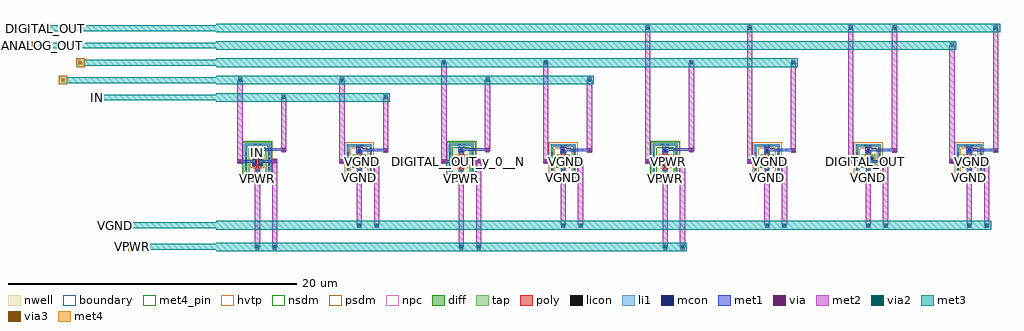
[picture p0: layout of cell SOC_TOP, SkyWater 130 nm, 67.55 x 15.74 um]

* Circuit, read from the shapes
.subckt SOC_TOP ANALOG_OUT DIGITAL_OUT DIGITAL__N_3 DIGITAL__OUT_y_0__N IN VGND VPWR
XM1 VGND IN DIGITAL__N_3 VGND sky130_fd_pr__nfet_01v8 w=0.65 l=0.15
XM2 VGND DIGITAL__N_3 DIGITAL__OUT_y_0__N VGND sky130_fd_pr__nfet_01v8 w=0.65 l=0.15
XM3 VGND DIGITAL__OUT_y_0__N DIGITAL_OUT VGND sky130_fd_pr__nfet_01v8 w=0.65 l=0.15
XM4 VGND DIGITAL_OUT DIGITAL_OUT VGND sky130_fd_pr__nfet_01v8 w=0.65 l=0.15
XM5 VGND DIGITAL_OUT ANALOG_OUT VGND sky130_fd_pr__nfet_01v8 w=0.65 l=0.15
XM6 VPWR IN DIGITAL__N_3 VPWR sky130_fd_pr__pfet_01v8_hvt w=0.65 l=0.15
XM7 VPWR DIGITAL__N_3 DIGITAL__OUT_y_0__N VPWR sky130_fd_pr__pfet_01v8_hvt w=0.65 l=0.15
XM8 VPWR DIGITAL__OUT_y_0__N DIGITAL_OUT VPWR sky130_fd_pr__pfet_01v8_hvt w=0.65 l=0.15
.ends

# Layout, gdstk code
import gdstk
lib = gdstk.Library(unit=1e-6, precision=1e-09)
def R(c, l, rs):  # rectangles x0, y0, x1, y1
    for r in rs: c.add(gdstk.rectangle(r[:2], r[2:], *l))
def A(c, l, x, y, w, h, nx, ny, dx, dy):  # array of equal rectangles
    R(c, l, [(x+i*dx, y+j*dy, x+i*dx+w, y+j*dy+h) for i in range(nx) for j in range(ny)])
nwell = (64, 20)
diff = (65, 20)
tap = (65, 44)
poly = (66, 20)
licon = (66, 44)
li1 = (67, 20)
mcon = (67, 44)
met1 = (68, 20)
via = (68, 44)
met2 = (69, 20)
via2 = (69, 44)
met3 = (70, 20)
via3 = (70, 44)
met4_pin = (71, 16)
met4 = (71, 20)
hvtp = (78, 44)
nsdm = (93, 44)
psdm = (94, 20)
npc = (95, 20)
boundary = (235, 4)

soc_top = lib.new_cell('SOC_TOP')
A(soc_top, nwell, 25.1, 14.8, 2.11, 2.84, 3, 1, 14.11, 0)
A(soc_top, diff, 25.79, 15.895, 0.73, 0.65, 6, 1, 7.055, 0)
R(soc_top, diff, [(68.065,15.895,68.795,16.545), (75.065,15.895,75.795,16.545)])
A(soc_top, tap, 25.28, 14.98, 1.75, 0.17, 3, 2, 14.11, 2.31)
A(soc_top, tap, 32.335, 15.025, 1.75, 0.17, 3, 2, 14.11, 2.22)
R(soc_top, tap, [(67.555,15.025,69.305,15.195), (74.555,15.025,76.305,15.195), (25.28,15.15,25.45,17.29), (26.86,15.15,27.03,17.29), (39.39,15.15,39.56,17.29), (40.97,15.15,41.14,17.29), (53.5,15.15,53.67,17.29), (55.08,15.15,55.25,17.29), (32.335,15.195,32.505,17.245), (33.915,15.195,34.085,17.245), (46.445,15.195,46.615,17.245), (48.025,15.195,48.195,17.245), (60.555,15.195,60.725,17.245), (62.135,15.195,62.305,17.245), (67.555,15.195,67.725,17.245), (69.135,15.195,69.305,17.245), (74.555,15.195,74.725,17.245), (76.135,15.195,76.305,17.245), (67.555,17.245,69.305,17.415), (74.555,17.245,76.305,17.415)])
A(soc_top, poly, 25.99, 15.41, 0.33, 0.33, 3, 2, 14.11, 1.29)
A(soc_top, poly, 33.045, 15.455, 0.33, 0.33, 3, 2, 14.11, 1.2)
A(soc_top, poly, 26.08, 15.74, 0.15, 0.96, 3, 1, 14.11, 0)
A(soc_top, poly, 33.135, 15.785, 0.15, 0.87, 3, 1, 14.11, 0)
R(soc_top, poly, [(68.265,15.455,68.595,15.785), (75.265,15.455,75.595,15.785), (68.355,15.785,68.505,16.655), (75.355,15.785,75.505,16.655), (68.265,16.655,68.595,16.985), (75.265,16.655,75.595,16.985)])
A(soc_top, licon, 26.07, 15.49, 0.17, 0.17, 3, 2, 14.11, 1.29)
A(soc_top, licon, 33.125, 15.535, 0.17, 0.17, 3, 2, 14.11, 1.2)
A(soc_top, licon, 25.28, 15.625, 0.17, 0.17, 1, 4, 0, 0.34)
A(soc_top, licon, 26.86, 15.625, 0.17, 0.17, 1, 4, 0, 0.34)
A(soc_top, licon, 32.335, 15.625, 0.17, 0.17, 1, 4, 0, 0.34)
A(soc_top, licon, 33.915, 15.625, 0.17, 0.17, 1, 4, 0, 0.34)
A(soc_top, licon, 39.39, 15.625, 0.17, 0.17, 1, 4, 0, 0.34)
A(soc_top, licon, 40.97, 15.625, 0.17, 0.17, 1, 4, 0, 0.34)
A(soc_top, licon, 46.445, 15.625, 0.17, 0.17, 1, 4, 0, 0.34)
A(soc_top, licon, 48.025, 15.625, 0.17, 0.17, 1, 4, 0, 0.34)
A(soc_top, licon, 53.5, 15.625, 0.17, 0.17, 1, 4, 0, 0.34)
A(soc_top, licon, 55.08, 15.625, 0.17, 0.17, 1, 4, 0, 0.34)
A(soc_top, licon, 60.555, 15.625, 0.17, 0.17, 1, 4, 0, 0.34)
A(soc_top, licon, 62.135, 15.625, 0.17, 0.17, 1, 4, 0, 0.34)
A(soc_top, licon, 67.555, 15.625, 0.17, 0.17, 1, 4, 0, 0.34)
A(soc_top, licon, 69.135, 15.625, 0.17, 0.17, 1, 4, 0, 0.34)
A(soc_top, licon, 74.555, 15.625, 0.17, 0.17, 1, 4, 0, 0.34)
A(soc_top, licon, 76.135, 15.625, 0.17, 0.17, 1, 4, 0, 0.34)
R(soc_top, licon, [(25.9,14.98,26.07,15.15), (26.24,14.98,26.41,15.15), (40.01,14.98,40.18,15.15), (40.35,14.98,40.52,15.15), (54.12,14.98,54.29,15.15), (54.46,14.98,54.63,15.15), (32.955,15.025,33.125,15.195), (33.295,15.025,33.465,15.195), (47.065,15.025,47.235,15.195), (47.405,15.025,47.575,15.195), (61.175,15.025,61.345,15.195), (61.515,15.025,61.685,15.195), (68.175,15.025,68.345,15.195), (68.515,15.025,68.685,15.195), (75.175,15.025,75.345,15.195), (75.515,15.025,75.685,15.195), (68.345,15.535,68.515,15.705), (75.345,15.535,75.515,15.705), (25.85,15.965,26.02,16.135), (26.29,15.965,26.46,16.135), (32.905,15.965,33.075,16.135), (33.345,15.965,33.515,16.135), (39.96,15.965,40.13,16.135), (40.4,15.965,40.57,16.135), (47.015,15.965,47.185,16.135), (47.455,15.965,47.625,16.135), (54.07,15.965,54.24,16.135), (54.51,15.965,54.68,16.135), (61.125,15.965,61.295,16.135), (61.565,15.965,61.735,16.135), (68.125,15.965,68.295,16.135), (68.565,15.965,68.735,16.135), (75.125,15.965,75.295,16.135), (75.565,15.965,75.735,16.135), (25.85,16.305,26.02,16.475), (26.29,16.305,26.46,16.475), (32.905,16.305,33.075,16.475), (33.345,16.305,33.515,16.475), (39.96,16.305,40.13,16.475), (40.4,16.305,40.57,16.475), (47.015,16.305,47.185,16.475), (47.455,16.305,47.625,16.475), (54.07,16.305,54.24,16.475), (54.51,16.305,54.68,16.475), (61.125,16.305,61.295,16.475), (61.565,16.305,61.735,16.475), (68.125,16.305,68.295,16.475), (68.565,16.305,68.735,16.475), (75.125,16.305,75.295,16.475), (75.565,16.305,75.735,16.475), (68.345,16.735,68.515,16.905), (75.345,16.735,75.515,16.905), (32.955,17.245,33.125,17.415), (33.295,17.245,33.465,17.415), (47.065,17.245,47.235,17.415), (47.405,17.245,47.575,17.415), (61.175,17.245,61.345,17.415), (61.515,17.245,61.685,17.415), (68.175,17.245,68.345,17.415), (68.515,17.245,68.685,17.415), (75.175,17.245,75.345,17.415), (75.515,17.245,75.685,17.415), (25.9,17.29,26.07,17.46), (26.24,17.29,26.41,17.46), (40.01,17.29,40.18,17.46), (40.35,17.29,40.52,17.46), (54.12,17.29,54.29,17.46), (54.46,17.29,54.63,17.46)])
A(soc_top, li1, 25.28, 14.98, 1.75, 0.17, 3, 2, 14.11, 2.31)
A(soc_top, li1, 32.335, 15.025, 1.75, 0.17, 3, 2, 14.11, 2.22)
A(soc_top, li1, 25.99, 15.49, 0.33, 0.17, 3, 2, 14.11, 1.29)
A(soc_top, li1, 33.045, 15.535, 0.33, 0.17, 3, 2, 14.11, 1.2)
A(soc_top, li1, 33.125, 16.735, 0.17, 0.34, 3, 1, 14.11, 0)
A(soc_top, li1, 26.07, 16.78, 0.17, 0.34, 3, 1, 14.11, 0)
R(soc_top, li1, [(67.555,15.025,69.305,15.195), (74.555,15.025,76.305,15.195), (25.28,15.15,25.45,17.29), (26.86,15.15,27.03,17.29), (39.39,15.15,39.56,17.29), (40.97,15.15,41.14,17.29), (53.5,15.15,53.67,17.29), (55.08,15.15,55.25,17.29), (32.335,15.195,32.505,17.245), (33.915,15.195,34.085,17.245), (46.445,15.195,46.615,17.245), (48.025,15.195,48.195,17.245), (60.555,15.195,60.725,17.245), (62.135,15.195,62.305,17.245), (67.555,15.195,67.725,17.245), (69.135,15.195,69.305,17.245), (74.555,15.195,74.725,17.245), (76.135,15.195,76.305,17.245), (68.265,15.535,68.595,15.705), (75.265,15.535,75.595,15.705), (25.85,15.875,26.02,16.565), (26.29,15.875,26.46,16.565), (32.905,15.875,33.075,16.565), (33.345,15.875,33.515,16.565), (39.96,15.875,40.13,16.565), (40.4,15.875,40.57,16.565), (47.015,15.875,47.185,16.565), (47.455,15.875,47.625,16.565), (54.07,15.875,54.24,16.565), (54.51,15.875,54.68,16.565), (61.125,15.875,61.295,16.565), (61.565,15.875,61.735,16.565), (68.125,15.875,68.295,16.565), (68.565,15.875,68.735,16.565), (75.125,15.875,75.295,16.565), (75.565,15.875,75.735,16.565), (68.265,16.735,68.595,16.905), (68.345,16.735,68.515,17.075), (75.265,16.735,75.595,16.905), (75.345,16.735,75.515,17.075), (67.555,17.245,69.305,17.415), (74.555,17.245,76.305,17.415)])
A(soc_top, mcon, 26.07, 14.98, 0.17, 0.17, 3, 2, 14.11, 1.97)
A(soc_top, mcon, 33.125, 15.025, 0.17, 0.17, 3, 2, 14.11, 1.88)
R(soc_top, mcon, [(68.345,15.025,68.515,15.195), (75.345,15.025,75.515,15.195), (25.85,15.955,26.02,16.125), (26.29,15.955,26.46,16.125), (32.905,15.955,33.075,16.125), (33.345,15.955,33.515,16.125), (39.96,15.955,40.13,16.125), (40.4,15.955,40.57,16.125), (47.015,15.955,47.185,16.125), (47.455,15.955,47.625,16.125), (54.07,15.955,54.24,16.125), (54.51,15.955,54.68,16.125), (61.125,15.955,61.295,16.125), (61.565,15.955,61.735,16.125), (68.125,15.955,68.295,16.125), (68.565,15.955,68.735,16.125), (75.125,15.955,75.295,16.125), (75.565,15.955,75.735,16.125), (25.85,16.315,26.02,16.485), (26.29,16.315,26.46,16.485), (32.905,16.315,33.075,16.485), (33.345,16.315,33.515,16.485), (39.96,16.315,40.13,16.485), (40.4,16.315,40.57,16.485), (47.015,16.315,47.185,16.485), (47.455,16.315,47.625,16.485), (54.07,16.315,54.24,16.485), (54.51,16.315,54.68,16.485), (61.125,16.315,61.295,16.485), (61.565,16.315,61.735,16.485), (68.125,16.315,68.295,16.485), (68.565,16.315,68.735,16.485), (75.125,16.315,75.295,16.485), (75.565,16.315,75.735,16.485), (68.345,16.905,68.515,17.075), (75.345,16.905,75.515,17.075)])
A(soc_top, met1, 25.955, 14.865, 0.4, 0.4, 3, 2, 14.11, 1.97)
A(soc_top, met1, 33.01, 14.91, 0.4, 0.4, 3, 2, 14.11, 1.88)
A(soc_top, met1, 25.975, 14.935, 0.36, 0.26, 3, 1, 14.11, 0)
A(soc_top, met1, 33.03, 14.98, 0.36, 0.26, 3, 1, 14.11, 0)
A(soc_top, met1, 34.85, 16.86, 0.36, 0.26, 3, 1, 14.11, 0)
A(soc_top, met1, 27.795, 16.905, 0.36, 0.26, 3, 1, 14.11, 0)
A(soc_top, met1, 33.21, 16.905, 1.82, 0.17, 3, 1, 14.11, 0)
A(soc_top, met1, 26.155, 16.95, 1.82, 0.17, 3, 1, 14.11, 0)
R(soc_top, met1, [(68.23,14.91,68.63,15.31), (75.23,14.91,75.63,15.31), (68.25,14.98,68.61,15.24), (75.25,14.98,75.61,15.24), (25.82,15.895,26.05,16.545), (26.26,15.895,26.49,16.545), (32.875,15.895,33.105,16.545), (33.315,15.895,33.545,16.545), (39.93,15.895,40.16,16.545), (40.37,15.895,40.6,16.545), (46.985,15.895,47.215,16.545), (47.425,15.895,47.655,16.545), (54.04,15.895,54.27,16.545), (54.48,15.895,54.71,16.545), (61.095,15.895,61.325,16.545), (61.535,15.895,61.765,16.545), (68.095,15.895,68.325,16.545), (68.535,15.895,68.765,16.545), (75.095,15.895,75.325,16.545), (75.535,15.895,75.765,16.545), (24.775,16.09,25.135,16.35), (27.175,16.09,27.535,16.35), (31.83,16.09,32.19,16.35), (34.23,16.09,34.59,16.35), (38.885,16.09,39.245,16.35), (41.285,16.09,41.645,16.35), (45.94,16.09,46.3,16.35), (48.34,16.09,48.7,16.35), (52.995,16.09,53.355,16.35), (55.395,16.09,55.755,16.35), (60.05,16.09,60.41,16.35), (62.45,16.09,62.81,16.35), (67.05,16.09,67.41,16.35), (69.45,16.09,69.81,16.35), (74.05,16.09,74.41,16.35), (76.45,16.09,76.81,16.35), (24.955,16.135,25.935,16.305), (26.375,16.135,27.355,16.305), (32.01,16.135,32.99,16.305), (33.43,16.135,34.41,16.305), (39.065,16.135,40.045,16.305), (40.485,16.135,41.465,16.305), (46.12,16.135,47.1,16.305), (47.54,16.135,48.52,16.305), (53.175,16.135,54.155,16.305), (54.595,16.135,55.575,16.305), (60.23,16.135,61.21,16.305), (61.65,16.135,62.63,16.305), (67.23,16.135,68.21,16.305), (68.65,16.135,69.63,16.305), (74.23,16.135,75.21,16.305), (75.65,16.135,76.63,16.305), (68.23,16.79,68.63,17.19), (75.23,16.79,75.63,17.19), (70.07,16.86,70.43,17.12), (77.07,16.86,77.43,17.12), (68.43,16.905,70.25,17.075), (75.43,16.905,77.25,17.075)])
A(soc_top, via, 26.08, 14.99, 0.15, 0.15, 3, 1, 14.11, 0)
A(soc_top, via, 33.135, 15.035, 0.15, 0.15, 3, 1, 14.11, 0)
A(soc_top, via, 34.955, 16.915, 0.15, 0.15, 3, 1, 14.11, 0)
A(soc_top, via, 27.9, 16.96, 0.15, 0.15, 3, 1, 14.11, 0)
R(soc_top, via, [(68.355,15.035,68.505,15.185), (75.355,15.035,75.505,15.185), (24.88,16.145,25.03,16.295), (27.28,16.145,27.43,16.295), (31.935,16.145,32.085,16.295), (34.335,16.145,34.485,16.295), (38.99,16.145,39.14,16.295), (41.39,16.145,41.54,16.295), (46.045,16.145,46.195,16.295), (48.445,16.145,48.595,16.295), (53.1,16.145,53.25,16.295), (55.5,16.145,55.65,16.295), (60.155,16.145,60.305,16.295), (62.555,16.145,62.705,16.295), (67.155,16.145,67.305,16.295), (69.555,16.145,69.705,16.295), (74.155,16.145,74.305,16.295), (76.555,16.145,76.705,16.295), (70.175,16.915,70.325,17.065), (77.175,16.915,77.325,17.065)])
A(soc_top, met2, 25.975, 10.3, 0.36, 4.765, 3, 1, 14.11, 0)
A(soc_top, met2, 27.175, 10.3, 0.36, 5.92, 3, 1, 14.11, 0)
A(soc_top, met2, 33.03, 11.8, 0.36, 3.31, 3, 1, 14.11, 0)
A(soc_top, met2, 34.23, 11.8, 0.36, 4.42, 3, 1, 14.11, 0)
A(soc_top, met2, 26.025, 14.885, 0.26, 0.36, 3, 1, 14.11, 0)
A(soc_top, met2, 33.08, 14.93, 0.26, 0.36, 3, 1, 14.11, 0)
A(soc_top, met2, 34.9, 16.81, 0.26, 0.36, 3, 1, 14.11, 0)
A(soc_top, met2, 27.845, 16.855, 0.26, 0.36, 3, 1, 14.11, 0)
R(soc_top, met2, [(26.015,10.11,26.295,10.49), (27.215,10.11,27.495,10.49), (40.125,10.11,40.405,10.49), (41.325,10.11,41.605,10.49), (54.235,10.11,54.515,10.49), (55.435,10.11,55.715,10.49), (33.07,11.61,33.35,11.99), (34.27,11.61,34.55,11.99), (47.18,11.61,47.46,11.99), (48.38,11.61,48.66,11.99), (61.29,11.61,61.57,11.99), (62.49,11.61,62.77,11.99), (68.29,11.61,68.57,11.99), (69.49,11.61,69.77,11.99), (75.29,11.61,75.57,11.99), (76.49,11.61,76.77,11.99), (68.25,11.8,68.61,15.11), (69.45,11.8,69.81,16.22), (75.25,11.8,75.61,15.11), (76.45,11.8,76.81,16.22), (68.3,14.93,68.56,15.29), (75.3,14.93,75.56,15.29), (24.825,16.04,25.085,16.4), (27.225,16.04,27.485,16.4), (31.88,16.04,32.14,16.4), (34.28,16.04,34.54,16.4), (38.935,16.04,39.195,16.4), (41.335,16.04,41.595,16.4), (45.99,16.04,46.25,16.4), (48.39,16.04,48.65,16.4), (53.045,16.04,53.305,16.4), (55.445,16.04,55.705,16.4), (60.1,16.04,60.36,16.4), (62.5,16.04,62.76,16.4), (67.1,16.04,67.36,16.4), (69.5,16.04,69.76,16.4), (74.1,16.04,74.36,16.4), (76.5,16.04,76.76,16.4), (24.775,16.22,25.135,21.84), (31.83,16.22,32.19,21.84), (38.885,16.22,39.245,23.04), (45.94,16.22,46.3,23.04), (52.995,16.22,53.355,25.44), (60.05,16.22,60.41,25.44), (67.05,16.22,67.41,25.44), (74.05,16.22,74.41,24.24), (70.12,16.81,70.38,17.17), (77.12,16.81,77.38,17.17), (34.85,16.99,35.21,20.64), (48.96,16.99,49.32,21.84), (63.07,16.99,63.43,23.04), (70.07,16.99,70.43,25.44), (77.07,16.99,77.43,25.44), (27.795,17.035,28.155,20.64), (41.905,17.035,42.265,21.84), (56.015,17.035,56.375,23.04), (27.835,20.45,28.115,20.83), (34.89,20.45,35.17,20.83), (24.815,21.65,25.095,22.03), (31.87,21.65,32.15,22.03), (41.945,21.65,42.225,22.03), (49,21.65,49.28,22.03), (38.925,22.85,39.205,23.23), (45.98,22.85,46.26,23.23), (56.055,22.85,56.335,23.23), (63.11,22.85,63.39,23.23), (74.09,24.05,74.37,24.43), (53.035,25.25,53.315,25.63), (60.09,25.25,60.37,25.63), (67.09,25.25,67.37,25.63), (70.11,25.25,70.39,25.63), (77.11,25.25,77.39,25.63)])
R(soc_top, via2, [(26.055,10.2,26.255,10.4), (27.255,10.2,27.455,10.4), (40.165,10.2,40.365,10.4), (41.365,10.2,41.565,10.4), (54.275,10.2,54.475,10.4), (55.475,10.2,55.675,10.4), (33.11,11.7,33.31,11.9), (34.31,11.7,34.51,11.9), (47.22,11.7,47.42,11.9), (48.42,11.7,48.62,11.9), (61.33,11.7,61.53,11.9), (62.53,11.7,62.73,11.9), (68.33,11.7,68.53,11.9), (69.53,11.7,69.73,11.9), (75.33,11.7,75.53,11.9), (76.53,11.7,76.73,11.9), (27.875,20.54,28.075,20.74), (34.93,20.54,35.13,20.74), (24.855,21.74,25.055,21.94), (31.91,21.74,32.11,21.94), (41.985,21.74,42.185,21.94), (49.04,21.74,49.24,21.94), (38.965,22.94,39.165,23.14), (46.02,22.94,46.22,23.14), (56.095,22.94,56.295,23.14), (63.15,22.94,63.35,23.14), (74.13,24.14,74.33,24.34), (53.075,25.34,53.275,25.54), (60.13,25.34,60.33,25.54), (67.13,25.34,67.33,25.54), (70.15,25.34,70.35,25.54), (77.15,25.34,77.35,25.54)])
R(soc_top, met3, [(17.2,10,17.8,10.6), (23.3,10,55.875,10.6), (25.905,10.05,26.405,10.55), (27.105,10.05,27.605,10.55), (40.015,10.05,40.515,10.55), (41.215,10.05,41.715,10.55), (54.125,10.05,54.625,10.55), (55.325,10.05,55.825,10.55), (16,11.5,16.6,12.1), (23.3,11.5,76.93,12.1), (32.96,11.55,33.46,12.05), (34.16,11.55,34.66,12.05), (47.07,11.55,47.57,12.05), (48.27,11.55,48.77,12.05), (61.18,11.55,61.68,12.05), (62.38,11.55,62.88,12.05), (68.18,11.55,68.68,12.05), (69.38,11.55,69.88,12.05), (75.18,11.55,75.68,12.05), (76.38,11.55,76.88,12.05), (14.8,20.34,15.4,20.94), (23.3,20.34,35.33,20.94), (27.725,20.39,28.225,20.89), (34.78,20.39,35.28,20.89), (12.4,21.54,13,22.14), (23.3,21.54,49.44,22.14), (24.705,21.59,25.205,22.09), (31.76,21.59,32.26,22.09), (41.835,21.59,42.335,22.09), (48.89,21.59,49.39,22.09), (13.6,22.74,14.2,23.34), (23.3,22.74,63.55,23.34), (38.815,22.79,39.315,23.29), (45.87,22.79,46.37,23.29), (55.945,22.79,56.445,23.29), (63,22.79,63.5,23.29), (10,23.94,10.6,24.54), (23.3,23.94,74.53,24.54), (73.98,23.99,74.48,24.49), (11.2,25.14,11.8,25.74), (23.3,25.14,77.55,25.74), (52.925,25.19,53.425,25.69), (59.98,25.19,60.48,25.69), (66.98,25.19,67.48,25.69), (70,25.19,70.5,25.69), (77,25.19,77.5,25.69)])
R(soc_top, via3, [(17.4,10.2,17.6,10.4), (16.2,11.7,16.4,11.9), (15,20.54,15.2,20.74), (12.6,21.74,12.8,21.94), (13.8,22.94,14,23.14), (10.2,24.14,10.4,24.34), (11.4,25.34,11.6,25.54)])
R(soc_top, met4_pin, [(17.25,10.05,17.75,10.55), (16.05,11.55,16.55,12.05), (14.85,20.39,15.35,20.89), (10.05,23.99,10.55,24.49), (11.25,25.19,11.75,25.69)])
R(soc_top, met4, [(17.2,10,17.8,10.6), (17.25,10,17.75,10.6), (16,11.5,16.6,12.1), (16.05,11.5,16.55,12.1), (14.8,20.34,15.4,20.94), (14.85,20.34,15.35,20.94), (12.4,21.54,13,22.14), (12.45,21.54,12.95,22.14), (13.6,22.74,14.2,23.34), (13.65,22.74,14.15,23.34), (10,23.94,10.6,24.54), (10.05,23.94,10.55,24.54), (11.2,25.14,11.8,25.74), (11.25,25.14,11.75,25.74)])
A(soc_top, hvtp, 25.9, 15.715, 0.51, 1.01, 3, 1, 14.11, 0)
A(soc_top, nsdm, 25.155, 14.855, 2, 0.42, 3, 2, 14.11, 2.31)
A(soc_top, nsdm, 32.72, 15.77, 0.98, 0.9, 3, 1, 14.11, 0)
R(soc_top, nsdm, [(25.155,15.275,25.575,17.165), (26.735,15.275,27.155,17.165), (39.265,15.275,39.685,17.165), (40.845,15.275,41.265,17.165), (53.375,15.275,53.795,17.165), (54.955,15.275,55.375,17.165), (67.94,15.77,68.92,16.67), (74.94,15.77,75.92,16.67)])
A(soc_top, psdm, 32.21, 14.9, 2, 0.42, 3, 2, 14.11, 2.22)
A(soc_top, psdm, 25.665, 15.77, 0.98, 0.9, 3, 1, 14.11, 0)
R(soc_top, psdm, [(67.43,14.9,69.43,15.32), (74.43,14.9,76.43,15.32), (32.21,15.32,32.63,17.12), (33.79,15.32,34.21,17.12), (46.32,15.32,46.74,17.12), (47.9,15.32,48.32,17.12), (60.43,15.32,60.85,17.12), (62.01,15.32,62.43,17.12), (67.43,15.32,67.85,17.12), (69.01,15.32,69.43,17.12), (74.43,15.32,74.85,17.12), (76.01,15.32,76.43,17.12), (67.43,17.12,69.43,17.54), (74.43,17.12,76.43,17.54)])
A(soc_top, npc, 25.97, 15.39, 0.37, 0.37, 3, 2, 14.11, 1.29)
A(soc_top, npc, 33.025, 15.435, 0.37, 0.37, 3, 2, 14.11, 1.2)
R(soc_top, npc, [(68.245,15.435,68.615,15.805), (75.245,15.435,75.615,15.805), (68.245,16.635,68.615,17.005), (75.245,16.635,75.615,17.005)])
A(soc_top, boundary, 25.365, 15.065, 1.58, 2.31, 3, 1, 14.11, 0)
A(soc_top, boundary, 32.42, 15.11, 1.58, 2.22, 3, 1, 14.11, 0)
R(soc_top, boundary, [(67.64,15.11,69.22,17.33), (74.64,15.11,76.22,17.33)])
soc_top.add(gdstk.FlexPath([(17.5,10.3),(23.3,10.3)], 0.4, ends="flush", simple_path=True, layer=70, datatype=20))  # met3
soc_top.add(gdstk.FlexPath([(16.3,11.8),(23.3,11.8)], 0.4, ends="flush", simple_path=True, layer=70, datatype=20))  # met3
soc_top.add(gdstk.FlexPath([(15.1,20.64),(23.3,20.64)], 0.4, ends="flush", simple_path=True, layer=70, datatype=20))  # met3
soc_top.add(gdstk.FlexPath([(13.9,23.04),(23.3,23.04)], 0.4, ends="flush", simple_path=True, layer=70, datatype=20))  # met3
soc_top.add(gdstk.FlexPath([(12.7,21.84),(23.3,21.84)], 0.4, ends="flush", simple_path=True, layer=70, datatype=20))  # met3
soc_top.add(gdstk.FlexPath([(11.5,25.44),(23.3,25.44)], 0.4, ends="flush", simple_path=True, layer=70, datatype=20))  # met3
soc_top.add(gdstk.FlexPath([(10.3,24.24),(23.3,24.24)], 0.4, ends="flush", simple_path=True, layer=70, datatype=20))  # met3
soc_top.add(gdstk.Label('VGND', (75.43,15.11), layer=67, texttype=5))
soc_top.add(gdstk.Label('VGND', (33.43,16.22), layer=67, texttype=5))
soc_top.add(gdstk.Label('VPWR', (54.595,16.22), layer=67, texttype=5))
soc_top.add(gdstk.Label('VGND', (47.54,16.22), layer=67, texttype=5))
soc_top.add(gdstk.Label('DIGITAL__OUT_y_0__N', (47.1,16.22), layer=67, texttype=5))
soc_top.add(gdstk.Label('IN', (26.155,16.865), layer=67, texttype=5))
soc_top.add(gdstk.Label('VPWR', (26.375,16.22), layer=67, texttype=5))
soc_top.add(gdstk.Label('VGND', (68.43,15.11), layer=67, texttype=5))
soc_top.add(gdstk.Label('DIGITAL__OUT_y_0__N', (54.375,16.865), layer=67, texttype=5))
soc_top.add(gdstk.Label('VPWR', (40.265,15.065), layer=67, texttype=5))
soc_top.add(gdstk.Label('DIGITAL__N_3', (32.99,16.22), layer=67, texttype=5))
soc_top.add(gdstk.Label('DIGITAL__OUT_y_0__N', (40.045,16.22), layer=67, texttype=5))
soc_top.add(gdstk.Label('DIGITAL_OUT', (68.21,16.22), layer=67, texttype=5))
soc_top.add(gdstk.Label('VGND', (68.65,16.22), layer=67, texttype=5))
soc_top.add(gdstk.Label('DIGITAL_OUT', (68.43,16.82), layer=67, texttype=5))
soc_top.add(gdstk.Label('DIGITAL__N_3', (25.935,16.22), layer=67, texttype=5))
soc_top.add(gdstk.Label('VGND', (75.65,16.22), layer=67, texttype=5))
soc_top.add(gdstk.Label('ANALOG_OUT', (75.21,16.22), layer=67, texttype=5))
soc_top.add(gdstk.Label('DIGITAL_OUT', (75.43,16.82), layer=67, texttype=5))
soc_top.add(gdstk.Label('VGND', (33.21,15.11), layer=67, texttype=5))
soc_top.add(gdstk.Label('DIGITAL__N_3', (40.265,16.865), layer=67, texttype=5))
soc_top.add(gdstk.Label('VPWR', (40.485,16.22), layer=67, texttype=5))
soc_top.add(gdstk.Label('VGND', (47.32,15.11), layer=67, texttype=5))
soc_top.add(gdstk.Label('VPWR', (26.155,15.065), layer=67, texttype=5))
soc_top.add(gdstk.Label('DIGITAL__N_3', (47.32,16.82), layer=67, texttype=5))
soc_top.add(gdstk.Label('IN', (33.21,16.82), layer=67, texttype=5))
soc_top.add(gdstk.Label('VPWR', (54.375,15.065), layer=67, texttype=5))
soc_top.add(gdstk.Label('DIGITAL_OUT', (54.155,16.22), layer=67, texttype=5))
soc_top.add(gdstk.Label('VGND', (61.65,16.22), layer=67, texttype=5))
soc_top.add(gdstk.Label('VGND', (61.43,15.11), layer=67, texttype=5))
soc_top.add(gdstk.Label('DIGITAL_OUT', (61.21,16.22), layer=67, texttype=5))
soc_top.add(gdstk.Label('DIGITAL__OUT_y_0__N', (61.43,16.82), layer=67, texttype=5))
soc_top.add(gdstk.Label('VGND', (16.3,11.8), layer=71, texttype=5))
soc_top.add(gdstk.Label('IN', (15.1,20.64), layer=71, texttype=5))
soc_top.add(gdstk.Label('VPWR', (17.5,10.3), layer=71, texttype=5))
soc_top.add(gdstk.Label('DIGITAL_OUT', (11.5,25.44), layer=71, texttype=5))
soc_top.add(gdstk.Label('ANALOG_OUT', (10.3,24.24), layer=71, texttype=5))

lib.write_gds('SOC_TOP.gds')
